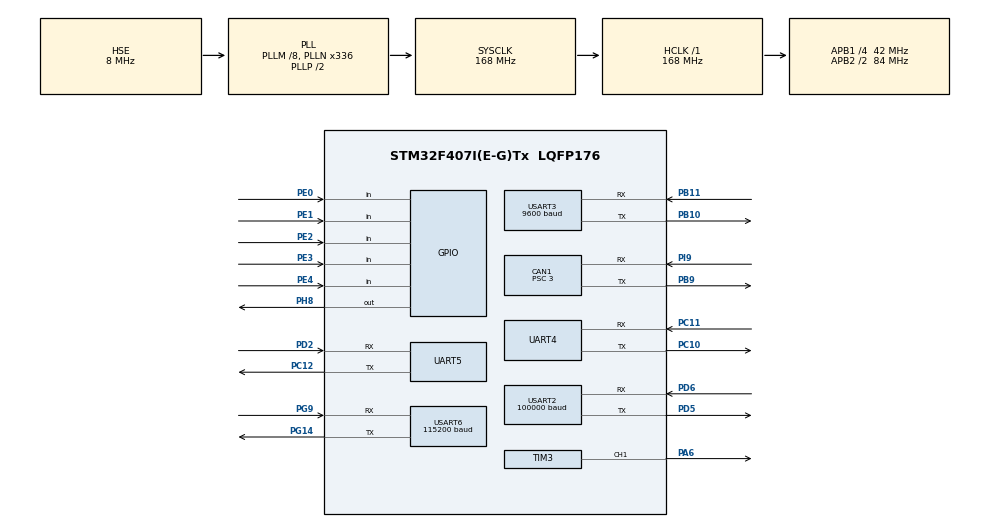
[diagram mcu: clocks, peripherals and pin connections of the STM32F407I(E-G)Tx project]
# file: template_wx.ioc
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CAN1.BS1=CAN_BS1_7TQ
CAN1.BS2=CAN_BS2_6TQ
CAN1.CalculateBaudRate=1000000
CAN1.CalculateTimeBit=1000
CAN1.CalculateTimeQuantum=71.42857142857143
CAN1.NART=ENABLE
CAN1.Prescaler=3
Mcu.Family=STM32F4
Mcu.Name=STM32F407I(E-G)Tx
Mcu.Package=LQFP176
NVIC.CAN1_RX0_IRQn=true\:5\:0\:true\:false\:true\:true\:true\:true
NVIC.CAN1_RX1_IRQn=true\:5\:0\:true\:false\:true\:true\:true\:true
NVIC.PriorityGroup=NVIC_PRIORITYGROUP_4
NVIC.TIM6_DAC_IRQn=true\:4\:0\:true\:false\:true\:true\:true\:true
NVIC.TIM7_IRQn=true\:3\:0\:true\:false\:true\:true\:true\:true
NVIC.UART4_IRQn=true\:1\:0\:true\:false\:true\:true\:true\:true
NVIC.USART2_IRQn=true\:1\:0\:true\:false\:true\:true\:true\:true
NVIC.USART3_IRQn=true\:1\:0\:true\:false\:true\:true\:true\:true
PA13.Mode=Serial_Wire
PA13.Signal=SYS_JTMS-SWDIO
PA14.Mode=Serial_Wire
PA14.Signal=SYS_JTCK-SWCLK
PA6.Signal=S_TIM3_CH1
PB10.GPIO_PuPd=GPIO_PULLUP
PB10.Mode=Asynchronous
PB10.Signal=USART3_TX
PB11.GPIO_PuPd=GPIO_PULLUP
PB11.Mode=Asynchronous
PB11.Signal=USART3_RX
PB9.Mode=CAN_Activate
PB9.Signal=CAN1_TX
PC10.GPIO_PuPd=GPIO_PULLUP
PC10.Mode=Asynchronous
PC10.Signal=UART4_TX
PC11.GPIO_PuPd=GPIO_PULLUP
PC11.Mode=Asynchronous
PC11.Signal=UART4_RX
PC12.Mode=Asynchronous
PC12.Signal=UART5_TX
PD2.Mode=Asynchronous
PD2.Signal=UART5_RX
PD5.Mode=Asynchronous
PD5.Signal=USART2_TX
PD6.Mode=Asynchronous
PD6.Signal=USART2_RX
PE0.Signal=GPIO_Input
PE1.Signal=GPIO_Input
PE2.Signal=GPIO_Input
PE3.Signal=GPIO_Input
PE4.Signal=GPIO_Input
PG14.Mode=Asynchronous
PG14.Signal=USART6_TX
PG9.Mode=Asynchronous
PG9.Signal=USART6_RX
PH0-OSC_IN.Mode=HSE-External-Oscillator
PH0-OSC_IN.Signal=RCC_OSC_IN
PH1-OSC_OUT.Mode=HSE-External-Oscillator
PH1-OSC_OUT.Signal=RCC_OSC_OUT
PH8.Signal=GPIO_Output
PI9.Mode=CAN_Activate
PI9.Signal=CAN1_RX
ProjectManager.HeapSize=0x200
ProjectManager.StackSize=0x400
ProjectManager.TargetToolchain=MDK-ARM V5.32
RCC.48MHZClocksFreq_Value=84000000
RCC.AHBFreq_Value=168000000
RCC.APB1CLKDivider=RCC_HCLK_DIV4
RCC.APB1Freq_Value=42000000
RCC.APB1TimFreq_Value=84000000
RCC.APB2CLKDivider=RCC_HCLK_DIV2
RCC.APB2Freq_Value=84000000
RCC.APB2TimFreq_Value=168000000
RCC.CortexFreq_Value=168000000
RCC.HCLKFreq_Value=168000000
RCC.HSE_VALUE=8000000
RCC.HSI_VALUE=16000000
RCC.LSE_VALUE=32768
RCC.PLLM=8
RCC.PLLN=336
RCC.PLLSourceVirtual=RCC_PLLSOURCE_HSE
RCC.SYSCLKFreq_VALUE=168000000
RCC.SYSCLKSource=RCC_SYSCLKSOURCE_PLLCLK
RCC.VCOOutputFreq_Value=336000000
SH.S_TIM3_CH1.0=TIM3_CH1,PWM Generation1 CH1
TIM3.Channel-PWM\ Generation1\ CH1=TIM_CHANNEL_1
TIM6.Period=999
TIM6.Prescaler=83
TIM7.AutoReloadPreload=TIM_AUTORELOAD_PRELOAD_DISABLE
TIM7.Period=19999
TIM7.Prescaler=83
UART4.Parity=PARITY_ODD
UART4.VirtualMode=Asynchronous
UART5.VirtualMode=Asynchronous
USART2.BaudRate=100000
USART2.Mode=MODE_RX
USART2.Parity=PARITY_EVEN
USART2.StopBits=STOPBITS_1
USART2.VirtualMode=VM_ASYNC
USART2.WordLength=WORDLENGTH_9B
USART3.BaudRate=9600
USART3.Parity=PARITY_NONE
USART3.VirtualMode=VM_ASYNC
USART6.BaudRate=115200
USART6.VirtualMode=VM_ASYNC
VP_TIM6_VS_ClockSourceINT.Mode=Enable_Timer
VP_TIM7_VS_ClockSourceINT.Mode=Enable_Timer
board=custom

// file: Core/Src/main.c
/* USER CODE BEGIN Header */
/**
  ******************************************************************************
  * @file           : main.c
  * @brief          : Main program body
  ******************************************************************************
  * @attention
  *
  * <h2><center>&copy; Copyright (c) 2022 STMicroelectronics.
  * All rights reserved.</center></h2>
  *
  * This software component is licensed by ST under BSD 3-Clause license,
  * the "License"; You may not use this file except in compliance with the
  * License. You may obtain a copy of the License at:
  *                        opensource.org/licenses/BSD-3-Clause
  *
  ******************************************************************************
  */

/* USER CODE END Header */
#include "main.h"
#include "can.h"
#include "tim.h"
#include "usart.h"
#include "gpio.h"

/* USER CODE BEGIN Includes */
#include "pid.h"
#include "DJI_Motor.h"
//#include "key.h"

#include "string.h"

#include "sbus.h"
#include "non_time_task.h"
#include "agv_controller.h"

/* USER CODE END Includes */

/* USER CODE BEGIN PV */

int32_t Motor_Position_Target[2]={0};
extern uint32_t a;

uint8_t uart4_rx_data[2];

uint8_t uart3_rx_data[50];
uint8_t uart3_rx_data_buf;
uint8_t uart3_rx_num=0;

uint8_t sbus_data[sbus_data_len];

int32_t uart3_test_count=0;
uint8_t PD6;
int a485_rec_temp;

uint8_t usart2_rx_flag=0;

/* USER CODE END PV */

void SystemClock_Config(void);

int main(void)
{
  /* USER CODE BEGIN 1 */

//	PID_struct_init(&Motor_Position_Loop[0],POSITION_PID,9100,9100,0.5f,0,0);
//	PID_struct_init(&Motor_Position_Loop[1],POSITION_PID,9100,9100,0.5f,0,0);
//	PID_struct_init(&Motor_Speed_Loop[0],POSITION_PID,20000,20000,7.5f,0.49f,0);
//	PID_struct_init(&Motor_Speed_Loop[1],POSITION_PID,20000,20000,7.5f,0.49f,0);

  /* USER CODE END 1 */

  /* MCU Configuration--------------------------------------------------------*/

  /* Reset of all peripherals, Initializes the Flash interface and the Systick. */
  HAL_Init();

  /* Configure the system clock */
  SystemClock_Config();

  /* Initialize all configured peripherals */
  MX_GPIO_Init();
  MX_CAN1_Init();
  MX_TIM6_Init();
  MX_TIM3_Init();
  MX_TIM7_Init();
  MX_UART4_Init();
  MX_USART3_UART_Init();
  MX_USART6_UART_Init();
  MX_USART2_UART_Init();
  MX_UART5_Init();
  /* USER CODE BEGIN 2 */
	CAN_Filter_Init();

	HAL_TIM_Base_Init(&htim6);
	HAL_TIM_Base_Start_IT(&htim6);

	HAL_TIM_Base_Init(&htim7);
	HAL_TIM_Base_Start_IT(&htim7);

	//从串口4的buff区拷贝数据到全局变量中的函数
	HAL_UART_Receive_IT(&huart4,uart4_rx_data,2);

	HAL_UART_Receive_IT(&huart3,uart3_rx_data,1);//485通信使能

	HAL_UART_Receive_IT(&huart5,uart3_rx_data,1);//232通信使能

//	HAL_UART_Receive_IT(&huart6,sbus_data,25);//sbus通信使能
	HAL_UART_Receive_IT(&huart2,sbus_data,sbus_data_len);//sbus通信使能
//	HAL_GPIO_WritePin(GPIOH,GPIO_PIN_8,GPIO_PIN_RESET);//接收模式，发送模式是GPIO_PIN_SET

	chassis_init(1.062,1.0613);
//		ZL_Motor_Init();
			motor_init();
  /* USER CODE END 2 */

  /* Infinite loop */
  /* USER CODE BEGIN WHILE */
  while (1)
  {
		non_time_task();
    /* USER CODE END WHILE */

  }
}

void SystemClock_Config(void)
{
  RCC_OscInitTypeDef RCC_OscInitStruct = {0};
  RCC_ClkInitTypeDef RCC_ClkInitStruct = {0};

  /** Configure the main internal regulator output voltage
  */
  __HAL_RCC_PWR_CLK_ENABLE();
  __HAL_PWR_VOLTAGESCALING_CONFIG(PWR_REGULATOR_VOLTAGE_SCALE1);
  /** Initializes the RCC Oscillators according to the specified parameters
  * in the RCC_OscInitTypeDef structure.
  */
  RCC_OscInitStruct.OscillatorType = RCC_OSCILLATORTYPE_HSE;
  RCC_OscInitStruct.HSEState = RCC_HSE_ON;
  RCC_OscInitStruct.PLL.PLLState = RCC_PLL_ON;
  RCC_OscInitStruct.PLL.PLLSource = RCC_PLLSOURCE_HSE;
  RCC_OscInitStruct.PLL.PLLM = 8;
  RCC_OscInitStruct.PLL.PLLN = 336;
  RCC_OscInitStruct.PLL.PLLP = RCC_PLLP_DIV2;
  RCC_OscInitStruct.PLL.PLLQ = 4;
  if (HAL_RCC_OscConfig(&RCC_OscInitStruct) != HAL_OK)
  {
    Error_Handler();
  }
  /** Initializes the CPU, AHB and APB buses clocks
  */
  RCC_ClkInitStruct.ClockType = RCC_CLOCKTYPE_HCLK|RCC_CLOCKTYPE_SYSCLK
                              |RCC_CLOCKTYPE_PCLK1|RCC_CLOCKTYPE_PCLK2;
  RCC_ClkInitStruct.SYSCLKSource = RCC_SYSCLKSOURCE_PLLCLK;
  RCC_ClkInitStruct.AHBCLKDivider = RCC_SYSCLK_DIV1;
  RCC_ClkInitStruct.APB1CLKDivider = RCC_HCLK_DIV4;
  RCC_ClkInitStruct.APB2CLKDivider = RCC_HCLK_DIV2;

  if (HAL_RCC_ClockConfig(&RCC_ClkInitStruct, FLASH_LATENCY_5) != HAL_OK)
  {
    Error_Handler();
  }
}

/* USER CODE BEGIN 4 */

void HAL_UART_RxCpltCallback(UART_HandleTypeDef *huart)
{
	uart3_test_count++;

	if(huart->Instance == UART4)
	{
		;
	}
		if(huart->Instance == USART3)
	{
		static int rx485_index=0;

		a485_rec_temp++;
		uart3_rx_num = HAL_UART_Receive_IT(&huart3,&uart3_rx_data_buf,1);
		if(uart3_rx_data_buf==0x3A)//:
		{
			rx485_index=0;
			uart3_rx_data[rx485_index]=uart3_rx_data_buf;
			rx485_index++;
		}else if(uart3_rx_data_buf==0x7E)
		{
			uart3_rx_data[rx485_index]=uart3_rx_data_buf;
			rx485_index=0;
			recv_flag_485 = 1;
		}
		else
		{
			uart3_rx_data[rx485_index]=uart3_rx_data_buf;
			rx485_index++;
		}
		if(rx485_index>=49)
		{rx485_index=0;}
		//uart3_rx_num	=	HAL_UART_Receive(&huart3,uart3_rx_data,30,1000);

	}

		if(huart->Instance == USART2)
	{
	HAL_UART_Receive_IT(&huart2,sbus_data,sbus_data_len);
		usart2_rx_flag=1;
	}
}

/* USER CODE END 4 */

void Error_Handler(void)
{
  __disable_irq();
  while (1)
  {
  }
}

/************************ (C) COPYRIGHT STMicroelectronics *****END OF FILE****/
